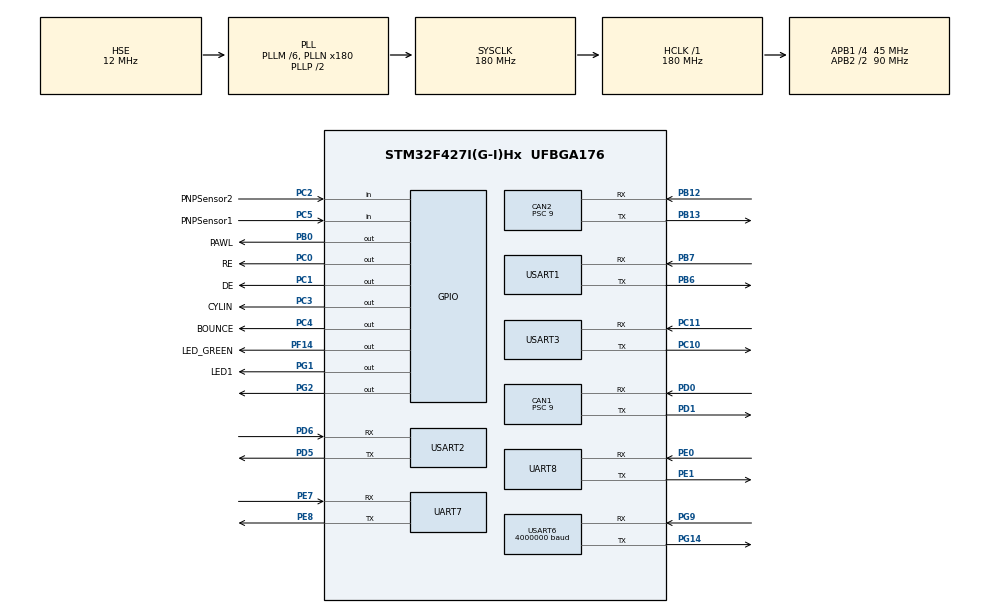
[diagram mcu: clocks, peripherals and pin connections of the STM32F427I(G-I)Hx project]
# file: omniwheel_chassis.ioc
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CAN1.ABOM=DISABLE
CAN1.BS1=CAN_BS1_3TQ
CAN1.BS2=CAN_BS2_1TQ
CAN1.CalculateBaudRate=1000000
CAN1.CalculateTimeBit=1000
CAN1.CalculateTimeQuantum=200.0
CAN1.Prescaler=9
CAN2.BS1=CAN_BS1_3TQ
CAN2.CalculateBaudRate=1000000
CAN2.CalculateTimeBit=1000
CAN2.CalculateTimeQuantum=200.0
CAN2.Prescaler=9
Dma.Request0=USART6_RX
Dma.USART6_RX.0.Direction=DMA_PERIPH_TO_MEMORY
Dma.USART6_RX.0.FIFOMode=DMA_FIFOMODE_DISABLE
Dma.USART6_RX.0.Instance=DMA2_Stream1
Dma.USART6_RX.0.MemDataAlignment=DMA_MDATAALIGN_BYTE
Dma.USART6_RX.0.MemInc=DMA_MINC_ENABLE
Dma.USART6_RX.0.Mode=DMA_NORMAL
Dma.USART6_RX.0.PeriphDataAlignment=DMA_PDATAALIGN_BYTE
Dma.USART6_RX.0.PeriphInc=DMA_PINC_DISABLE
Dma.USART6_RX.0.Priority=DMA_PRIORITY_HIGH
FREERTOS.Tasks01=defaultTask,8,1024,StartDefaultTask,Default,NULL,Dynamic,NULL,NULL
Mcu.Family=STM32F4
Mcu.Name=STM32F427I(G-I)Hx
Mcu.Package=UFBGA176
NVIC.CAN1_RX0_IRQn=true\:5\:0\:false\:false\:true\:true\:true\:true\:true
NVIC.CAN2_RX0_IRQn=true\:5\:0\:false\:false\:true\:true\:true\:true\:true
NVIC.CAN2_RX1_IRQn=true\:5\:0\:false\:false\:true\:true\:true\:true\:true
NVIC.DMA2_Stream1_IRQn=true\:5\:0\:false\:false\:true\:true\:false\:true\:true
NVIC.PriorityGroup=NVIC_PRIORITYGROUP_4
NVIC.TIM1_UP_TIM10_IRQn=true\:15\:0\:false\:false\:true\:false\:false\:true\:true
NVIC.TIM3_IRQn=true\:5\:0\:false\:false\:true\:true\:true\:true\:true
NVIC.TimeBase=TIM1_UP_TIM10_IRQn
NVIC.TimeBaseIP=TIM1
NVIC.UART7_IRQn=true\:5\:0\:false\:false\:true\:true\:true\:true\:true
NVIC.UART8_IRQn=true\:5\:0\:false\:false\:true\:true\:true\:true\:true
NVIC.USART6_IRQn=true\:5\:0\:false\:false\:true\:true\:true\:true\:true
PA13.Mode=Serial_Wire
PA13.Signal=SYS_JTMS-SWDIO
PA14.Mode=Serial_Wire
PA14.Signal=SYS_JTCK-SWCLK
PB0.GPIO_Label=PAWL
PB0.GPIO_PuPd=GPIO_PULLDOWN
PB0.Signal=GPIO_Output
PB12.Mode=CAN_Activate
PB12.Signal=CAN2_RX
PB13.Mode=CAN_Activate
PB13.Signal=CAN2_TX
PB6.Mode=Asynchronous
PB6.Signal=USART1_TX
PB7.Mode=Asynchronous
PB7.Signal=USART1_RX
PC0.GPIO_Label=RE
PC0.GPIO_Speed=GPIO_SPEED_FREQ_VERY_HIGH
PC0.Signal=GPIO_Output
PC1.GPIO_Label=DE
PC1.GPIO_Speed=GPIO_SPEED_FREQ_VERY_HIGH
PC1.Signal=GPIO_Output
PC10.Mode=Asynchronous
PC10.Signal=USART3_TX
PC11.Mode=Asynchronous
PC11.Signal=USART3_RX
PC2.GPIO_Label=PNPSensor2
PC2.GPIO_PuPd=GPIO_PULLDOWN
PC2.Signal=GPIO_Input
PC3.GPIO_Label=CYLIN
PC3.GPIO_PuPd=GPIO_PULLDOWN
PC3.Signal=GPIO_Output
PC4.GPIO_Label=BOUNCE
PC4.Signal=GPIO_Output
PC5.GPIO_Label=PNPSensor1
PC5.GPIO_PuPd=GPIO_PULLDOWN
PC5.Signal=GPIO_Input
PD0.Mode=CAN_Activate
PD0.Signal=CAN1_RX
PD1.Mode=CAN_Activate
PD1.Signal=CAN1_TX
PD5.Mode=Asynchronous
PD5.Signal=USART2_TX
PD6.Mode=Asynchronous
PD6.Signal=USART2_RX
PE0.Mode=Asynchronous
PE0.Signal=UART8_RX
PE1.Mode=Asynchronous
PE1.Signal=UART8_TX
PE7.Mode=Asynchronous
PE7.Signal=UART7_RX
PE8.Mode=Asynchronous
PE8.Signal=UART7_TX
PF14.GPIO_Label=LED_GREEN
PF14.GPIO_PuPd=GPIO_PULLDOWN
PF14.Signal=GPIO_Output
PG1.GPIO_Label=LED1
PG1.GPIO_PuPd=GPIO_PULLDOWN
PG1.Signal=GPIO_Output
PG14.Mode=Asynchronous
PG14.Signal=USART6_TX
PG2.GPIO_PuPd=GPIO_NOPULL
PG2.Signal=GPIO_Output
PG9.Mode=Asynchronous
PG9.Signal=USART6_RX
PH0/OSC_IN.Mode=HSE-External-Oscillator
PH0/OSC_IN.Signal=RCC_OSC_IN
PH1/OSC_OUT.Mode=HSE-External-Oscillator
PH1/OSC_OUT.Signal=RCC_OSC_OUT
ProjectManager.HeapSize=0x400
ProjectManager.StackSize=0x800
ProjectManager.TargetToolchain=Makefile
RCC.48MHZClocksFreq_Value=90000000
RCC.AHBFreq_Value=180000000
RCC.APB1CLKDivider=RCC_HCLK_DIV4
RCC.APB1Freq_Value=45000000
RCC.APB1TimFreq_Value=90000000
RCC.APB2CLKDivider=RCC_HCLK_DIV2
RCC.APB2Freq_Value=90000000
RCC.APB2TimFreq_Value=180000000
RCC.CortexFreq_Value=180000000
RCC.HCLKFreq_Value=180000000
RCC.HSE_VALUE=12000000
RCC.HSI_VALUE=16000000
RCC.LSE_VALUE=32768
RCC.PLLM=6
RCC.PLLN=180
RCC.PLLSourceVirtual=RCC_PLLSOURCE_HSE
RCC.SYSCLKFreq_VALUE=180000000
RCC.SYSCLKSource=RCC_SYSCLKSOURCE_PLLCLK
RCC.VCOOutputFreq_Value=360000000
TIM2.ClockDivision=TIM_CLOCKDIVISION_DIV1
TIM2.Period=99
TIM2.Prescaler=8999
TIM3.Period=24
TIM3.Prescaler=8999
UART7.VirtualMode=Asynchronous
UART8.VirtualMode=Asynchronous
USART1.VirtualMode=VM_ASYNC
USART2.VirtualMode=VM_ASYNC
USART3.VirtualMode=VM_ASYNC
USART6.BaudRate=4000000
USART6.VirtualMode=VM_ASYNC
VP_FREERTOS_VS_CMSIS_V2.Mode=CMSIS_V2
VP_SYS_VS_tim1.Mode=TIM1
VP_TIM2_VS_ClockSourceINT.Mode=Internal
VP_TIM3_VS_ClockSourceINT.Mode=Internal
board=custom

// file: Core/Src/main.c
/* USER CODE BEGIN Header */
/**
  ******************************************************************************
  * @file           : main.c
  * @brief          : Main program body
  ******************************************************************************
  * @attention
  *
  * Copyright (c) 2024 STMicroelectronics.
  * All rights reserved.
  *
  * This software is licensed under terms that can be found in the LICENSE file
  * in the root directory of this software component.
  * If no LICENSE file comes with this software, it is provided AS-IS.
  *
  ******************************************************************************
  */
/* USER CODE END Header */
#include "main.h"
#include "cmsis_os.h"
#include "can.h"
#include "dma.h"
#include "tim.h"
#include "usart.h"
#include "gpio.h"

/* USER CODE BEGIN Includes */
#include "retarget.h"
#include "DJI.h"
#include "stdio.h"
#include "Caculate.h"
#include "ThrowHSM.h"
#include "kalman_filter.h"
#include "BounceTask.h"
#include "ThrowHSMTask.h"
/* USER CODE END Includes */

void SystemClock_Config(void);
void MX_FREERTOS_Init(void);

int main(void)
{

  /* MCU Configuration--------------------------------------------------------*/

  /* Reset of all peripherals, Initializes the Flash interface and the Systick. */
  HAL_Init();

  /* Configure the system clock */
  SystemClock_Config();

  /* Initialize all configured peripherals */
  MX_GPIO_Init();
  MX_DMA_Init();
  MX_CAN1_Init();
  MX_UART7_Init();
  MX_CAN2_Init();
  MX_UART8_Init();
  MX_USART6_UART_Init();
  MX_USART1_UART_Init();
  MX_USART2_UART_Init();
  MX_USART3_UART_Init();
  MX_TIM2_Init();
  MX_TIM3_Init();
  /* USER CODE BEGIN 2 */
  HAL_TIM_Base_Start_IT(&htim2);
  hDJI[0].motorType = M2006;//自旋电机
  hDJI[1].motorType = M3508;
  hDJI[2].motorType = M2006;//支撑右电机
  hDJI[3].motorType = M2006;
  hDJI[4].motorType = M3508;
  hDJI[5].motorType = M3508;
  DJI_Init();
  throwhsm.wholestate = WHOLE_INITING;
  /* USER CODE END 2 */

  /* Init scheduler */
  osKernelInitialize();

  /* Call init function for freertos objects (in cmsis_os2.c) */
  MX_FREERTOS_Init();

  /* Start scheduler */
  osKernelStart();

  /* We should never get here as control is now taken by the scheduler */

  /* Infinite loop */
  while (1)
  {

  }
}

void SystemClock_Config(void)
{
  RCC_OscInitTypeDef RCC_OscInitStruct = {0};
  RCC_ClkInitTypeDef RCC_ClkInitStruct = {0};

  /** Configure the main internal regulator output voltage
  */
  __HAL_RCC_PWR_CLK_ENABLE();
  __HAL_PWR_VOLTAGESCALING_CONFIG(PWR_REGULATOR_VOLTAGE_SCALE1);

  /** Initializes the RCC Oscillators according to the specified parameters
  * in the RCC_OscInitTypeDef structure.
  */
  RCC_OscInitStruct.OscillatorType = RCC_OSCILLATORTYPE_HSE;
  RCC_OscInitStruct.HSEState = RCC_HSE_ON;
  RCC_OscInitStruct.PLL.PLLState = RCC_PLL_ON;
  RCC_OscInitStruct.PLL.PLLSource = RCC_PLLSOURCE_HSE;
  RCC_OscInitStruct.PLL.PLLM = 6;
  RCC_OscInitStruct.PLL.PLLN = 180;
  RCC_OscInitStruct.PLL.PLLP = RCC_PLLP_DIV2;
  RCC_OscInitStruct.PLL.PLLQ = 4;
  if (HAL_RCC_OscConfig(&RCC_OscInitStruct) != HAL_OK)
  {
    Error_Handler();
  }

  /** Activate the Over-Drive mode
  */
  if (HAL_PWREx_EnableOverDrive() != HAL_OK)
  {
    Error_Handler();
  }

  /** Initializes the CPU, AHB and APB buses clocks
  */
  RCC_ClkInitStruct.ClockType = RCC_CLOCKTYPE_HCLK|RCC_CLOCKTYPE_SYSCLK
                              |RCC_CLOCKTYPE_PCLK1|RCC_CLOCKTYPE_PCLK2;
  RCC_ClkInitStruct.SYSCLKSource = RCC_SYSCLKSOURCE_PLLCLK;
  RCC_ClkInitStruct.AHBCLKDivider = RCC_SYSCLK_DIV1;
  RCC_ClkInitStruct.APB1CLKDivider = RCC_HCLK_DIV4;
  RCC_ClkInitStruct.APB2CLKDivider = RCC_HCLK_DIV2;

  if (HAL_RCC_ClockConfig(&RCC_ClkInitStruct, FLASH_LATENCY_5) != HAL_OK)
  {
    Error_Handler();
  }
}

void HAL_TIM_PeriodElapsedCallback(TIM_HandleTypeDef *htim)
{
  /* USER CODE BEGIN Callback 0 */
  if(htim->Instance == TIM3) {
    __HAL_TIM_CLEAR_IT(htim, TIM_IT_UPDATE); // 必须放在条件判断前

    if(timer_active_flag == 1) // 再检查激活标志
    {
      deltime++;
      if(deltime == TimeUp)
      {
        timer_active_flag = 0;
        HAL_TIM_Base_Stop_IT(htim);  // 使用参数指针
        __HAL_TIM_SET_COUNTER(htim, 0);
      }
    }
  }
  /* USER CODE END Callback 0 */
  if (htim->Instance == TIM1)
  {
    HAL_IncTick();
  }
}

void Error_Handler(void)
{
  __disable_irq();
  while (1)
  {
  }
}

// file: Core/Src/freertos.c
/* USER CODE BEGIN Header */
/**
 ******************************************************************************
 * File Name          : freertos.c
 * Description        : Code for freertos applications
 ******************************************************************************
 * @attention
 *
 * Copyright (c) 2024 STMicroelectronics.
 * All rights reserved.
 *
 * This software is licensed under terms that can be found in the LICENSE file
 * in the root directory of this software component.
 * If no LICENSE file comes with this software, it is provided AS-IS.
 *
 ******************************************************************************
 */
/* USER CODE END Header */

#include "FreeRTOS.h"
#include "task.h"
#include "main.h"
#include "cmsis_os.h"

/* USER CODE BEGIN Includes */
#include "allusertask.h"
#include "allusertask.h"
#include "HSM.h"
#include "rmctl.h"
#include "encoder.h"
#include "main.h"
#include "Unitree_user.h"
#include "DJI.h"
#include "Caculate.h"
/* USER CODE END Includes */

/* USER CODE BEGIN PM */
int flag0 = 0;
extern int openflag ;
extern int bounceflag ;
/* USER CODE END PM */

/* Definitions for defaultTask */
osThreadId_t defaultTaskHandle;
const osThreadAttr_t defaultTask_attributes = {
  .name = "defaultTask",
  .stack_size = 1024 * 4,
  .priority = (osPriority_t) osPriorityLow,
};

void StartDefaultTask(void *argument);

void MX_FREERTOS_Init(void); /* (MISRA C 2004 rule 8.1) */

void MX_FREERTOS_Init(void) {
  /* USER CODE BEGIN Init */
  if (CANFilterInit(&hcan1) == HAL_ERROR)
  {
    throwhsm.wholestate = WHOLE_ERROR;
    throwhsm.errorstate = ERROR_CANINITFAIL1;
  }
  if (ENCODER_CANFilterInit(&hcan2) == HAL_ERROR)
  {
    throwhsm.wholestate = WHOLE_ERROR;
    throwhsm.errorstate = ERROR_CANINITFAIL2;
  }
  HAL_CAN_Start(&hcan2); // 启动CAN外设
  HAL_CAN_ActivateNotification(&hcan2, CAN_IT_RX_FIFO0_MSG_PENDING); // 启用接收FIFO0的中断
  /* USER CODE END Init */

  /* Create the thread(s) */
  /* creation of defaultTask */
  defaultTaskHandle = osThreadNew(StartDefaultTask, NULL, &defaultTask_attributes);

}

void StartDefaultTask(void *argument)
{
  /* USER CODE BEGIN StartDefaultTask */
    /* Infinite loop */
    User_FREERTOS_Init();
    for (;;) {
    osDelay(100);
    }
  /* USER CODE END StartDefaultTask */
}
